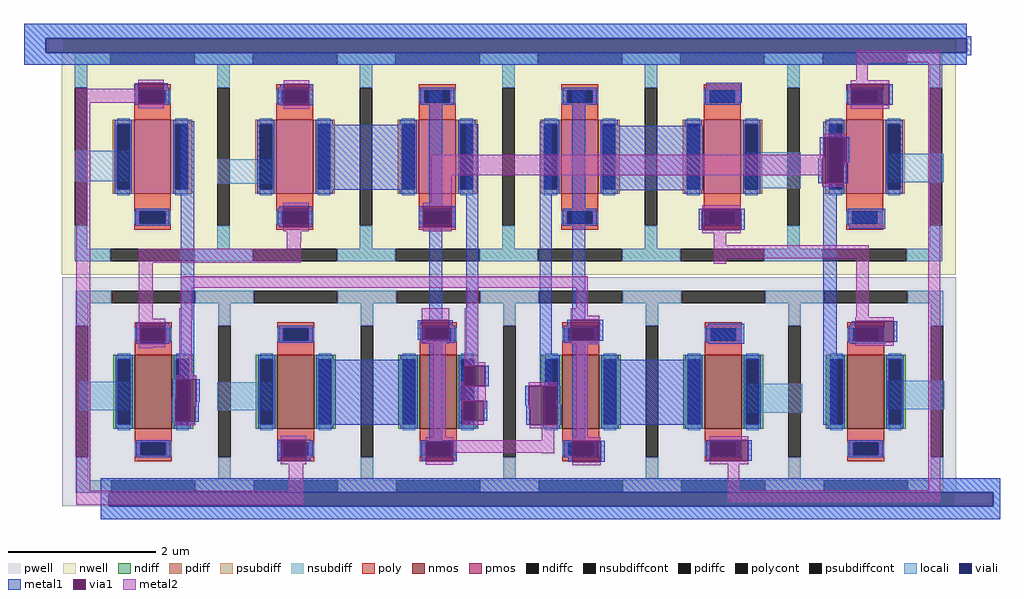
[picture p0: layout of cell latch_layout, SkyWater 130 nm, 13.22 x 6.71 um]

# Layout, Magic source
magic
tech sky130A
magscale 1 2
<< locali >>
rect 30 2142 2584 2181
rect 30 2103 89 2142
rect 30 2070 2584 2103
rect 169 1755 316 1838
rect 554 1748 700 1814
rect 1980 1736 2134 1834
rect 2367 1752 2521 1830
rect 179 1135 319 1212
rect 554 1135 702 1210
rect 1984 1128 2138 1206
rect 2369 1137 2523 1215
rect 238 913 2674 951
rect 238 874 260 913
rect 2656 874 2674 913
rect 238 840 2674 874
<< viali >>
rect 89 2103 2584 2142
rect 260 874 2656 913
<< metal1 >>
rect 30 2148 2584 2181
rect 30 2142 2596 2148
rect 30 2103 89 2142
rect 2584 2103 2596 2142
rect 30 2097 2596 2103
rect 30 2070 2584 2097
rect 330 1963 340 2020
rect 409 1963 419 2020
rect 724 1961 734 2018
rect 803 1961 813 2018
rect 334 1315 344 1372
rect 413 1315 423 1372
rect 454 1219 491 1918
rect 822 1732 1090 1908
rect 1128 1687 1163 2004
rect 722 1630 732 1687
rect 801 1630 811 1687
rect 1100 1630 1110 1687
rect 1189 1630 1199 1687
rect 1128 1379 1163 1630
rect 1097 1325 1107 1379
rect 1182 1325 1192 1379
rect 432 1167 442 1219
rect 430 1104 440 1167
rect 496 1156 506 1219
rect 494 1104 504 1156
rect 454 1098 491 1104
rect 827 1096 1095 1272
rect 716 998 726 1055
rect 795 998 805 1055
rect 1128 1051 1163 1325
rect 1228 1255 1261 1910
rect 1212 1200 1222 1255
rect 1279 1200 1289 1255
rect 1427 1201 1460 1916
rect 1515 1380 1550 2004
rect 1878 1968 1975 2022
rect 2260 1962 2270 2018
rect 2374 1962 2384 2018
rect 1601 1730 1869 1906
rect 2195 1874 2232 1916
rect 2186 1817 2196 1874
rect 2182 1750 2192 1817
rect 2255 1807 2265 1874
rect 2251 1750 2261 1807
rect 1858 1624 1868 1680
rect 1972 1624 1982 1680
rect 1501 1323 1511 1380
rect 1589 1323 1599 1380
rect 1228 1161 1261 1200
rect 1208 1106 1218 1161
rect 1275 1106 1285 1161
rect 1388 1147 1398 1201
rect 1473 1150 1483 1201
rect 1228 1090 1261 1106
rect 1390 1096 1400 1147
rect 1475 1096 1485 1150
rect 1515 1052 1550 1323
rect 1884 1315 1981 1369
rect 1595 1096 1863 1272
rect 2195 1096 2232 1750
rect 2266 1626 2363 1680
rect 2272 1369 2282 1376
rect 2268 1320 2282 1369
rect 2386 1320 2396 1376
rect 2268 1315 2365 1320
rect 1108 997 1118 1051
rect 1193 997 1203 1051
rect 1505 995 1515 1052
rect 1593 995 1603 1052
rect 1878 998 1888 1054
rect 1992 998 2002 1054
rect 238 913 2674 951
rect 238 874 260 913
rect 2656 874 2674 913
rect 238 840 2674 874
<< via1 >>
rect 340 1963 409 2020
rect 734 1961 803 2018
rect 344 1315 413 1372
rect 732 1630 801 1687
rect 1110 1630 1189 1687
rect 1107 1325 1182 1379
rect 442 1167 496 1219
rect 440 1156 496 1167
rect 440 1104 494 1156
rect 726 998 795 1055
rect 1222 1200 1279 1255
rect 2270 1962 2374 2018
rect 2196 1817 2255 1874
rect 2192 1807 2255 1817
rect 2192 1750 2251 1807
rect 1868 1624 1972 1680
rect 1511 1323 1589 1380
rect 1218 1106 1275 1161
rect 1398 1150 1473 1201
rect 1398 1147 1475 1150
rect 1400 1096 1475 1147
rect 2282 1320 2386 1376
rect 1118 997 1193 1051
rect 1515 995 1593 1052
rect 1888 998 1992 1054
<< metal2 >>
rect 2284 2078 2512 2110
rect 340 2020 409 2030
rect 2284 2028 2316 2078
rect 171 1967 340 2006
rect 171 917 210 1967
rect 340 1953 409 1963
rect 734 2018 803 2028
rect 734 1951 803 1961
rect 2270 2018 2374 2028
rect 2270 1952 2374 1962
rect 2196 1874 2255 1884
rect 1133 1817 2196 1827
rect 1133 1771 2192 1817
rect 1133 1697 1189 1771
rect 2251 1797 2255 1807
rect 2192 1740 2251 1750
rect 732 1687 801 1697
rect 732 1620 801 1630
rect 1110 1687 1189 1697
rect 1110 1620 1189 1630
rect 1868 1680 1972 1690
rect 742 1592 781 1620
rect 1868 1614 1972 1624
rect 742 1572 780 1592
rect 341 1534 780 1572
rect 1898 1581 1932 1614
rect 1898 1547 2319 1581
rect 341 1382 379 1534
rect 1898 1532 1932 1547
rect 455 1467 1557 1498
rect 455 1411 486 1467
rect 1229 1411 1260 1467
rect 1526 1411 1557 1467
rect 341 1372 413 1382
rect 341 1315 344 1372
rect 341 1305 413 1315
rect 450 1378 486 1411
rect 1107 1379 1182 1411
rect 341 1302 379 1305
rect 450 1229 485 1378
rect 1107 1315 1182 1325
rect 442 1219 496 1229
rect 440 1167 442 1177
rect 494 1146 496 1156
rect 440 1094 494 1104
rect 726 1055 795 1065
rect 1139 1061 1173 1315
rect 1224 1265 1260 1411
rect 1511 1390 1557 1411
rect 1511 1380 1589 1390
rect 2285 1386 2319 1547
rect 1511 1313 1589 1323
rect 2282 1376 2386 1386
rect 1222 1255 1279 1265
rect 1216 1200 1222 1212
rect 1279 1200 1281 1212
rect 1216 1161 1281 1200
rect 1216 1137 1218 1161
rect 1275 1137 1281 1161
rect 1398 1201 1473 1211
rect 1473 1150 1475 1160
rect 1398 1137 1400 1147
rect 1218 1096 1275 1106
rect 1400 1086 1475 1096
rect 726 988 795 998
rect 1118 1053 1193 1061
rect 1433 1053 1467 1086
rect 1526 1062 1557 1313
rect 2282 1310 2386 1320
rect 1118 1051 1467 1053
rect 1193 1019 1467 1051
rect 1433 1018 1467 1019
rect 1515 1052 1593 1062
rect 747 917 786 988
rect 1118 987 1193 997
rect 1515 985 1593 995
rect 1888 1054 1992 1064
rect 1888 988 1992 998
rect 171 878 786 917
rect 1936 918 1968 988
rect 2480 918 2512 2078
rect 1936 886 2512 918
use sky130_fd_pr__pfet_01v8_X3YSY6  sky130_fd_pr__pfet_01v8_X3YSY6_0
transform 1 0 2308 0 1 1821
box -246 -319 246 319
use sky130_fd_pr__pfet_01v8_X3YSY6  XM13
transform 1 0 378 0 1 1821
box -246 -319 246 319
use sky130_fd_pr__pfet_01v8_X3YSY6  XM14
transform 1 0 764 0 1 1821
box -246 -319 246 319
use sky130_fd_pr__pfet_01v8_X3YSY6  XM15
transform 1 0 1150 0 1 1821
box -246 -319 246 319
use sky130_fd_pr__pfet_01v8_X3YSY6  XM16
transform 1 0 1536 0 1 1821
box -246 -319 246 319
use sky130_fd_pr__pfet_01v8_X3YSY6  XM17
transform 1 0 1922 0 1 1821
box -246 -319 246 319
use sky130_fd_pr__nfet_01v8_PVEW3M  XM19
transform 1 0 1924 0 1 1185
box -246 -310 246 310
use sky130_fd_pr__nfet_01v8_PVEW3M  XM20
transform 1 0 2310 0 1 1185
box -246 -310 246 310
use sky130_fd_pr__nfet_01v8_PVEW3M  XM21
transform 1 0 380 0 1 1185
box -246 -310 246 310
use sky130_fd_pr__nfet_01v8_PVEW3M  XM22
transform 1 0 766 0 1 1185
box -246 -310 246 310
use sky130_fd_pr__nfet_01v8_PVEW3M  XM23
transform 1 0 1152 0 1 1185
box -246 -310 246 310
use sky130_fd_pr__nfet_01v8_PVEW3M  XM24
transform 1 0 1538 0 1 1185
box -246 -310 246 310
<< end >>

# cell sky130_fd_pr__pfet_01v8_X3YSY6: kit device sky130_fd_pr__pfet_01v8, w 1.0 l 0.5 m 1 nf 1 diffcov 100 polycov 100 guard 1 glc 1 grc 1 gtc 1 gbc 1 tbcov 100 rlcov 100 topc 1 botc 1 poverlap 0 doverlap 1 lmin 0.35 wmin 0.42 compatible {sky130_fd_pr__pfet_01v8 sky130_fd_pr__pfet_01v8_lvt sky130_fd_pr__pfet_01v8_hvt sky130_fd_pr__pfet_g5v0d10v5} full_metal 1 viasrc 100 viadrn 100 viagate 100 viagb 0 viagr 0 viagl 0 viagt 0

# cell sky130_fd_pr__nfet_01v8_PVEW3M: kit device sky130_fd_pr__nfet_01v8, w 1.0 l 0.5 m 1 nf 1 diffcov 100 polycov 100 guard 1 glc 1 grc 1 gtc 1 gbc 1 tbcov 100 rlcov 100 topc 1 botc 1 poverlap 0 doverlap 1 lmin 0.15 wmin 0.42 compatible {sky130_fd_pr__nfet_01v8 sky130_fd_pr__nfet_01v8_lvt sky130_fd_bs_flash__special_sonosfet_star sky130_fd_pr__nfet_g5v0d10v5 sky130_fd_pr__nfet_05v0_nvt sky130_fd_pr__nfet_03v3_nvt} full_metal 1 viasrc 100 viadrn 100 viagate 100 viagb 0 viagr 0 viagl 0 viagt 0
